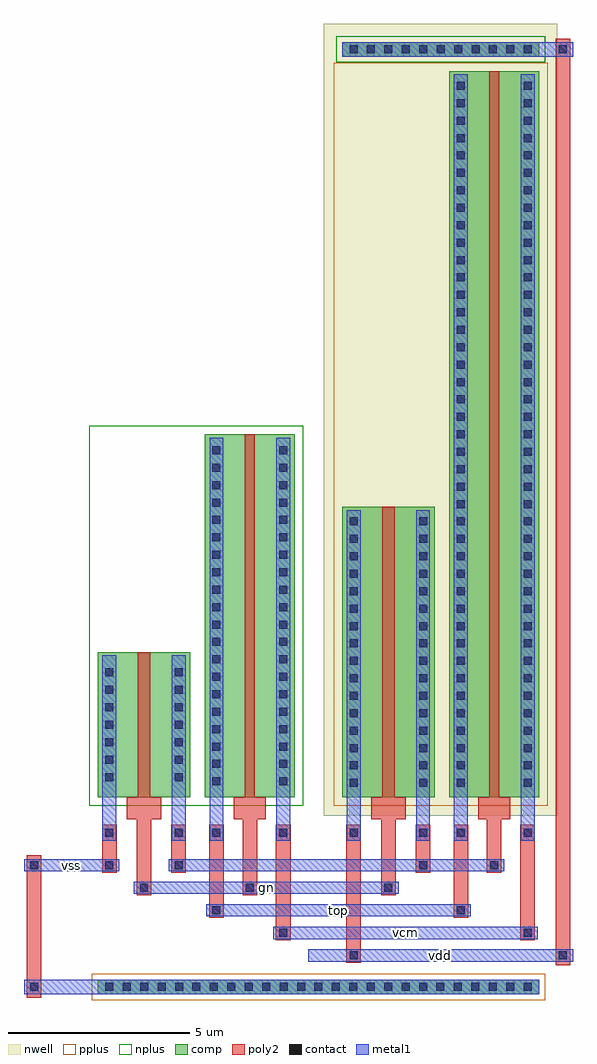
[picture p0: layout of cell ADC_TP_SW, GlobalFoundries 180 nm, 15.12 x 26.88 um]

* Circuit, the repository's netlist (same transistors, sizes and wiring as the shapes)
* extracted by klt extract --deck gf180mcu

* cell ADC_TP_SW
* pin gn
* pin top
* pin vcm
* pin vdd
* pin vss
.SUBCKT ADC_TP_SW gn top vcm vdd vss
* device instance $1 r0 *1 1.275,2 nfet
M$1 \$6 gn vss vss nfet L=0.35U W=4U AS=4.4P AD=4.4P PS=10.2U PD=10.2U
* device instance $2 r0 *1 4.19,5 nfet
M$2 vcm gn top vss nfet L=0.28U W=10U AS=11P AD=11P PS=22.2U PD=22.2U
* device instance $3 r0 *1 8.005,4 pfet
M$3 \$6 gn vdd vdd pfet L=0.35U W=8U AS=8.8P AD=8.8P PS=18.2U PD=18.2U
* device instance $4 r0 *1 10.92,10 pfet
M$4 vcm \$6 top vdd pfet L=0.28U W=20U AS=22P AD=22P PS=42.2U PD=42.2U
.ENDS ADC_TP_SW

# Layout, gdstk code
import gdstk
lib = gdstk.Library(unit=1e-6, precision=1e-09)
def R(c, l, rs):  # rectangles x0, y0, x1, y1
    for r in rs: c.add(gdstk.rectangle(r[:2], r[2:], *l))
def A(c, l, x, y, w, h, nx, ny, dx, dy):  # array of equal rectangles
    R(c, l, [(x+i*dx, y+j*dy, x+i*dx+w, y+j*dy+h) for i in range(nx) for j in range(ny)])
nwell = (21, 0)
comp = (22, 0)
poly2 = (30, 0)
pplus = (31, 0)
nplus = (32, 0)
contact = (33, 0)
metal1 = (34, 0)

adc_tp_sw = lib.new_cell('ADC_TP_SW')
R(adc_tp_sw, nwell, [(6.23,-0.5,12.66,21.3)])
R(adc_tp_sw, comp, [(0,-5.42,12.16,-5.02), (0,0,2.55,4), (2.95,0,5.43,10), (6.73,0,9.28,8), (9.68,0,12.16,20), (6.73,20.4,12.16,20.8)])
R(adc_tp_sw, poly2, [(-1.95,-5.52,-1.55,-1.6), (12.61,-4.62,13.01,20.9), (6.85,-4.56,7.25,-1.2), (4.91,-3.94,5.31,-1.2), (11.64,-3.94,12.04,-1.2), (3.07,-3.32,3.47,-1.2), (9.8,-3.32,10.2,-1.2), (1.075,-2.7,1.475,-1.2), (3.99,-2.7,4.39,-1.2), (7.805,-2.7,8.205,-1.2), (0.12,-2.08,0.52,-1.2), (2.03,-2.08,2.43,-1.2), (8.76,-2.08,9.16,-1.2), (10.72,-2.08,11.12,-1.2), (0.12,-1.2,0.52,-0.75), (1.075,-1.2,1.475,-0.6), (2.03,-1.2,2.43,-0.75), (3.07,-1.2,3.47,-0.75), (3.99,-1.2,4.39,-0.6), (4.91,-1.2,5.31,-0.75), (6.85,-1.2,7.25,-0.75), (7.805,-1.2,8.205,-0.6), (8.76,-1.2,9.16,-0.75), (9.8,-1.2,10.2,-0.75), (10.72,-1.2,11.12,-0.6), (11.64,-1.2,12.04,-0.75), (0.8,-0.6,1.75,0), (3.75,-0.6,4.63,0), (7.53,-0.6,8.48,0), (10.48,-0.6,11.36,0), (1.1,0,1.45,4), (4.05,0,4.33,10), (7.83,0,8.18,8), (10.78,0,11.06,20)])
R(adc_tp_sw, pplus, [(-0.16,-5.58,12.32,-4.86), (6.5,-0.23,12.39,20.23)])
R(adc_tp_sw, nplus, [(-0.23,-0.23,5.66,10.23), (6.57,20.24,12.32,20.96)])
A(adc_tp_sw, contact, 0.21, -5.33, 0.22, 0.22, 25, 1, 0.48, 0)
A(adc_tp_sw, contact, 6.94, 0.29, 0.22, 0.22, 1, 16, 0, 0.48)
A(adc_tp_sw, contact, 8.85, 0.29, 0.22, 0.22, 1, 16, 0, 0.48)
A(adc_tp_sw, contact, 9.89, 0.29, 0.22, 0.22, 1, 41, 0, 0.48)
A(adc_tp_sw, contact, 11.73, 0.29, 0.22, 0.22, 1, 41, 0, 0.48)
A(adc_tp_sw, contact, 3.16, 0.33, 0.22, 0.22, 1, 20, 0, 0.48)
A(adc_tp_sw, contact, 5, 0.33, 0.22, 0.22, 1, 20, 0, 0.48)
A(adc_tp_sw, contact, 0.21, 0.45, 0.22, 0.22, 1, 7, 0, 0.48)
A(adc_tp_sw, contact, 2.12, 0.45, 0.22, 0.22, 1, 7, 0, 0.48)
A(adc_tp_sw, contact, 6.935, 20.49, 0.22, 0.22, 11, 1, 0.48, 0)
R(adc_tp_sw, contact, [(-1.86,-5.33,-1.64,-5.11), (6.94,-4.46,7.16,-4.24), (12.7,-4.46,12.92,-4.24), (5,-3.84,5.22,-3.62), (11.73,-3.84,11.95,-3.62), (3.16,-3.22,3.38,-3), (9.89,-3.22,10.11,-3), (1.165,-2.6,1.385,-2.38), (4.08,-2.6,4.3,-2.38), (7.895,-2.6,8.115,-2.38), (-1.86,-1.98,-1.64,-1.76), (0.21,-1.98,0.43,-1.76), (2.12,-1.98,2.34,-1.76), (8.85,-1.98,9.07,-1.76), (10.81,-1.98,11.03,-1.76), (0.21,-1.08,0.43,-0.86), (2.12,-1.08,2.34,-0.86), (3.16,-1.08,3.38,-0.86), (5,-1.08,5.22,-0.86), (6.94,-1.08,7.16,-0.86), (8.85,-1.08,9.07,-0.86), (9.89,-1.08,10.11,-0.86), (11.73,-1.08,11.95,-0.86), (12.7,20.49,12.92,20.71)])
R(adc_tp_sw, metal1, [(-2.03,-5.42,12.16,-5.02), (5.8,-4.52,13.09,-4.18), (4.83,-3.9,12.12,-3.56), (2.99,-3.28,10.28,-2.94), (0.995,-2.66,8.285,-2.32), (-2.03,-2.04,0.6,-1.7), (1.95,-2.04,11.2,-1.7), (0.13,-1.2,0.51,0.09), (2.04,-1.2,2.42,0.09), (3.08,-1.2,3.46,0.09), (4.92,-1.2,5.3,0.09), (6.86,-1.2,7.24,0.09), (8.77,-1.2,9.15,0.09), (9.81,-1.2,10.19,0.09), (11.65,-1.2,12.03,0.09), (0.13,0.09,0.51,3.91), (2.04,0.09,2.42,3.91), (3.08,0.09,3.46,9.91), (4.92,0.09,5.3,9.91), (6.86,0.09,7.24,7.91), (8.77,0.09,9.15,7.91), (9.81,0.09,10.19,19.91), (11.65,0.09,12.03,19.91), (6.73,20.4,12.16,20.8), (6.73,20.4,13.09,20.8)])
adc_tp_sw.add(gdstk.Label('vss', (-0.715,-1.87), layer=34, texttype=10))
adc_tp_sw.add(gdstk.Label('gn', (4.64,-2.49), layer=34, texttype=10))
adc_tp_sw.add(gdstk.Label('top', (6.635,-3.11), layer=34, texttype=10))
adc_tp_sw.add(gdstk.Label('vcm', (8.475,-3.73), layer=34, texttype=10))
adc_tp_sw.add(gdstk.Label('vdd', (9.445,-4.35), layer=34, texttype=10))

lib.write_gds('ADC_TP_SW.gds')
